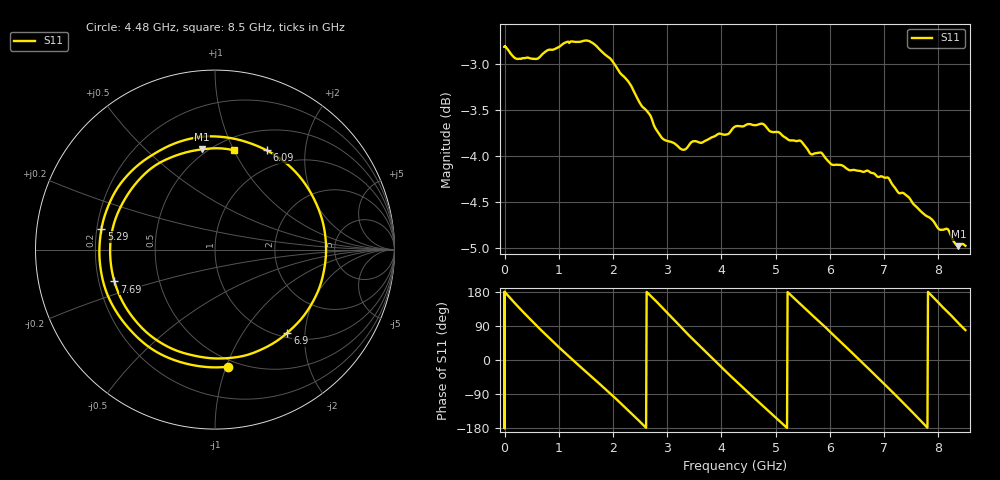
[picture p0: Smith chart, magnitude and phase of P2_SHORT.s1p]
! LibreCAL 5mOUNstcbC0A set FACTORY P2_SHORT
# GHz S RI R 50
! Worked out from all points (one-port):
!   1202 points, 9 kHz to 8.5 GHz, reference 50 ohm
!   lowest |S11| = -5.0 dB at 8.37 GHz (marker M1), VSWR 3.58, Z = 23.3 + j38.1 ohm
!   |S11| at or under -10 dB: nowhere
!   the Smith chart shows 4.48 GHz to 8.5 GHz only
!   S11 on the Smith chart (normalised r, x): 4.48 GHz: 0.44, -1.01; 5.29 GHz: 0.22, +0.09; 6.09 GHz: 0.75, +1.36; 6.9 GHz: 1.09, -1.62; 7.69 GHz: 0.27, -0.14; 8.5 GHz: 0.62, +1.00
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9e-06  -0.723 -0.00138
0.29  -0.4991 0.5082
0.53  -0.1153 0.7029
0.78  0.3144 0.6472
1.07  0.6593 0.3026
1.52  0.6095 -0.3993
1.84  0.1938 -0.6898
2.13  -0.2696 -0.6457
2.65  -0.6636 0.0531
3.19  -0.0727 0.6345
3.46  0.3515 0.5372
3.76  0.6238 0.1598
4.26  0.3814 -0.5319
4.48  0.0698 -0.6524
4.94  -0.5257 -0.3821
5.29  -0.6326 0.1152
5.32  -0.6231 0.1591
5.74  -0.2124 0.5961
6.09  0.2885 0.553
6.38  0.5705 0.2412
6.64  0.6029 -0.1373
6.9  0.4035 -0.4632
7.17  0.0361 -0.6065
7.44  -0.3494 -0.4871
7.69  -0.5607 -0.1771
7.99  -0.5149 0.2589
8.37  -0.0733 0.5585
8.5  0.1085 0.553
